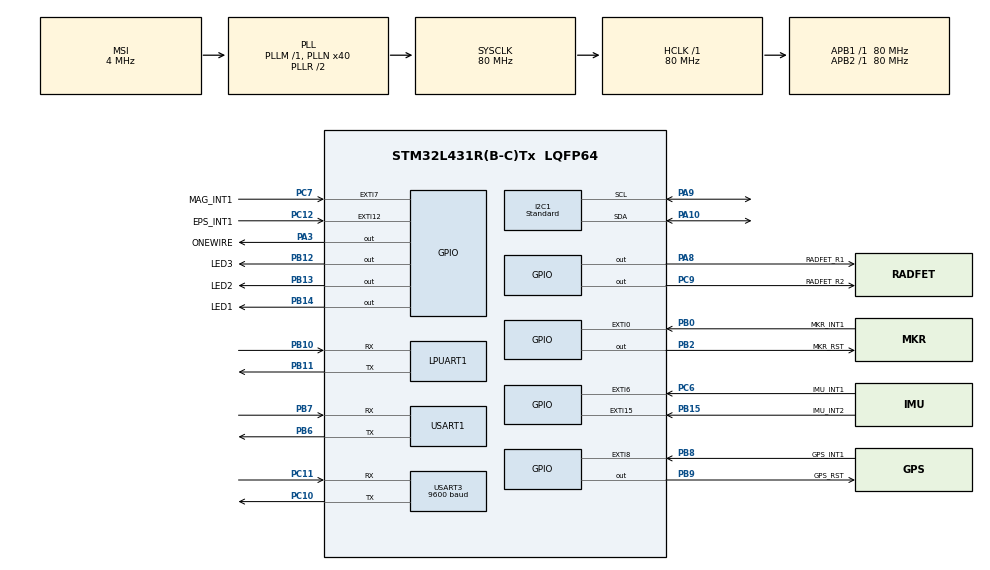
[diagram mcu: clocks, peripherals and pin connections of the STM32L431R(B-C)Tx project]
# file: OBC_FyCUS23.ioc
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CRC.DefaultInitValueUse=DEFAULT_INIT_VALUE_DISABLE
CRC.InputDataFormat=CRC_INPUTDATA_FORMAT_BYTES
Dma.LPUART_TX.0.Direction=DMA_MEMORY_TO_PERIPH
Dma.LPUART_TX.0.Instance=DMA2_Channel6
Dma.LPUART_TX.0.MemDataAlignment=DMA_MDATAALIGN_BYTE
Dma.LPUART_TX.0.MemInc=DMA_MINC_ENABLE
Dma.LPUART_TX.0.Mode=DMA_NORMAL
Dma.LPUART_TX.0.PeriphDataAlignment=DMA_PDATAALIGN_BYTE
Dma.LPUART_TX.0.PeriphInc=DMA_PINC_DISABLE
Dma.LPUART_TX.0.Priority=DMA_PRIORITY_MEDIUM
Dma.Request0=LPUART_TX
Dma.Request1=USART3_RX
Dma.Request2=USART1_TX
Dma.USART1_TX.2.Direction=DMA_MEMORY_TO_PERIPH
Dma.USART1_TX.2.Instance=DMA1_Channel4
Dma.USART1_TX.2.MemDataAlignment=DMA_MDATAALIGN_BYTE
Dma.USART1_TX.2.MemInc=DMA_MINC_ENABLE
Dma.USART1_TX.2.Mode=DMA_NORMAL
Dma.USART1_TX.2.PeriphDataAlignment=DMA_PDATAALIGN_BYTE
Dma.USART1_TX.2.PeriphInc=DMA_PINC_DISABLE
Dma.USART1_TX.2.Priority=DMA_PRIORITY_MEDIUM
Dma.USART3_RX.1.Direction=DMA_PERIPH_TO_MEMORY
Dma.USART3_RX.1.Instance=DMA1_Channel3
Dma.USART3_RX.1.MemDataAlignment=DMA_MDATAALIGN_BYTE
Dma.USART3_RX.1.MemInc=DMA_MINC_ENABLE
Dma.USART3_RX.1.Mode=DMA_NORMAL
Dma.USART3_RX.1.PeriphDataAlignment=DMA_PDATAALIGN_BYTE
Dma.USART3_RX.1.PeriphInc=DMA_PINC_DISABLE
Dma.USART3_RX.1.Priority=DMA_PRIORITY_VERY_HIGH
I2C1.Analog_Filter=I2C_ANALOGFILTER_ENABLE
I2C1.CustomTiming=Disabled
I2C1.I2C_Speed_Mode=I2C_Standard
I2C1.Speed=100
I2C1.Timing=0x10909CEC
IWDG.Prescaler=IWDG_PRESCALER_8
IWDG.Reload=3999
LPUART1.BaudRate=MODEM_UART_BAUDRATE
LPUART1.OneBitSampling=UART_ONE_BIT_SAMPLE_DISABLE
LPUART1.WordLength=UART_WORDLENGTH_8B
Mcu.Family=STM32L4
Mcu.Name=STM32L431R(B-C)Tx
Mcu.Package=LQFP64
Mcu.UserConstants=EPS_UART_HANDLE,&huart1;PRIMARY_TIM_ARR,((7 *10000/5)-1);SECONDARY_TIM_HANDLE,&htim16;MODEM_UART_BAUDRATE,500000;GNSS_UART,USART3;GNSS_UART_HANDLE,&huart3;MICROS_TIM_ARR,65535;PRIMARY_TIM,TIM7;MODEM_UART_HANDLE,&hlpuart1;SECONDARY_TIM,TIM16;EPS_UART,USART1;PRIMARY_TIM_HANDLE,&htim7;MICROS_TIM_HANDLE,&htim6;MICROS_TIM_PRESCALER,(80-1);EPS_UART_BAUDRATE,500000;SECONDARY_TIM_ARR,((3 *10000/5) -1);MODEM_UART,LPUART1;PRIMARY_TIM_PRESCALER,((8000*5)-1);MICROS_TIM,TIM6;SECONDARY_TIM_PRESCALER,(8000*5-1);RTC_HANDLE,&hrtc
NVIC.DMA1_Channel3_IRQn=true\:0\:0\:false\:false\:true\:false\:true\:true
NVIC.DMA1_Channel4_IRQn=true\:0\:0\:false\:false\:true\:false\:true\:true
NVIC.DMA2_Channel6_IRQn=true\:0\:0\:false\:false\:true\:false\:true\:true
NVIC.EXTI0_IRQn=true\:6\:0\:true\:false\:true\:true\:true\:true
NVIC.EXTI15_10_IRQn=true\:6\:0\:true\:false\:true\:true\:true\:true
NVIC.EXTI9_5_IRQn=true\:7\:0\:true\:false\:true\:true\:true\:true
NVIC.LPUART1_IRQn=true\:2\:0\:true\:false\:true\:true\:true\:true
NVIC.PriorityGroup=NVIC_PRIORITYGROUP_4
NVIC.TIM1_UP_TIM16_IRQn=true\:0\:0\:false\:false\:true\:true\:true\:true
NVIC.TIM7_IRQn=true\:3\:0\:true\:false\:true\:true\:true\:true
NVIC.USART1_IRQn=true\:4\:0\:true\:false\:true\:true\:true\:true
NVIC.USART3_IRQn=true\:5\:0\:true\:false\:true\:true\:true\:true
PA10.Mode=I2C
PA10.Signal=I2C1_SDA
PA13\ (JTMS-SWDIO).Mode=JTAG_5_pins
PA13\ (JTMS-SWDIO).Signal=SYS_JTMS-SWDIO
PA14\ (JTCK-SWCLK).Mode=JTAG_5_pins
PA14\ (JTCK-SWCLK).Signal=SYS_JTCK-SWCLK
PA15\ (JTDI).Mode=JTAG_5_pins
PA15\ (JTDI).Signal=SYS_JTDI
PA3.GPIO_Label=ONEWIRE
PA3.GPIO_ModeDefaultOutputPP=GPIO_MODE_OUTPUT_OD
PA3.GPIO_PuPd=GPIO_PULLUP
PA3.GPIO_Speed=GPIO_SPEED_FREQ_VERY_HIGH
PA3.Signal=GPIO_Output
PA8.GPIO_Label=RADFET_R1
PA8.GPIO_ModeDefaultOutputPP=GPIO_MODE_OUTPUT_OD
PA8.GPIO_PuPd=GPIO_NOPULL
PA8.Signal=GPIO_Output
PA9.Mode=I2C
PA9.Signal=I2C1_SCL
PB0.GPIO_Label=MKR_INT1
PB0.GPIO_PuPd=GPIO_PULLDOWN
PB0.Signal=GPXTI0
PB10.Mode=Asynchronous
PB10.Signal=LPUART1_RX
PB11.Mode=Asynchronous
PB11.Signal=LPUART1_TX
PB12.GPIO_Label=LED3
PB12.Signal=GPIO_Output
PB13.GPIO_Label=LED2
PB13.Signal=GPIO_Output
PB14.GPIO_Label=LED1
PB14.Signal=GPIO_Output
PB15.GPIO_Label=IMU_INT2
PB15.GPIO_ModeDefaultEXTI=GPIO_MODE_IT_RISING
PB15.GPIO_PuPd=GPIO_PULLDOWN
PB15.Signal=GPXTI15
PB2.GPIO_Label=MKR_RST
PB2.GPIO_ModeDefaultOutputPP=GPIO_MODE_OUTPUT_OD
PB2.GPIO_PuPd=GPIO_NOPULL
PB2.PinState=GPIO_PIN_SET
PB2.Signal=GPIO_Output
PB3\ (JTDO-TRACESWO).Mode=JTAG_5_pins
PB3\ (JTDO-TRACESWO).Signal=SYS_JTDO-SWO
PB4\ (NJTRST).Mode=JTAG_5_pins
PB4\ (NJTRST).Signal=SYS_JTRST
PB6.Mode=Asynchronous
PB6.Signal=USART1_TX
PB7.Mode=Asynchronous
PB7.Signal=USART1_RX
PB8.GPIO_Label=GPS_INT1
PB8.GPIO_ModeDefaultEXTI=GPIO_MODE_IT_FALLING
PB8.GPIO_PuPd=GPIO_PULLUP
PB8.Signal=GPXTI8
PB9.GPIO_Label=GPS_RST
PB9.GPIO_ModeDefaultOutputPP=GPIO_MODE_OUTPUT_OD
PB9.GPIO_PuPd=GPIO_PULLUP
PB9.PinState=GPIO_PIN_SET
PB9.Signal=GPIO_Output
PC10.Mode=Asynchronous
PC10.Signal=USART3_TX
PC11.Mode=Asynchronous
PC11.Signal=USART3_RX
PC12.GPIO_Label=EPS_INT1
PC12.GPIO_ModeDefaultEXTI=GPIO_MODE_IT_RISING
PC12.GPIO_PuPd=GPIO_PULLDOWN
PC12.Signal=GPXTI12
PC6.GPIO_Label=IMU_INT1
PC6.GPIO_ModeDefaultEXTI=GPIO_MODE_IT_RISING
PC6.GPIO_PuPd=GPIO_PULLDOWN
PC6.Signal=GPXTI6
PC7.GPIO_Label=MAG_INT1
PC7.GPIO_ModeDefaultEXTI=GPIO_MODE_IT_RISING
PC7.GPIO_PuPd=GPIO_PULLDOWN
PC7.Signal=GPXTI7
PC9.GPIO_Label=RADFET_R2
PC9.GPIO_ModeDefaultOutputPP=GPIO_MODE_OUTPUT_OD
PC9.GPIO_PuPd=GPIO_NOPULL
PC9.Signal=GPIO_Output
ProjectManager.HeapSize=0x200
ProjectManager.StackSize=0x400
ProjectManager.TargetToolchain=STM32CubeIDE
RCC.ADCFreq_Value=32000000
RCC.AHBFreq_Value=80000000
RCC.APB1Freq_Value=80000000
RCC.APB1TimFreq_Value=80000000
RCC.APB2Freq_Value=80000000
RCC.APB2TimFreq_Value=80000000
RCC.CortexFreq_Value=80000000
RCC.HCLKFreq_Value=80000000
RCC.HSE_VALUE=8000000
RCC.HSI48_VALUE=48000000
RCC.HSI_VALUE=16000000
RCC.LSE_VALUE=32768
RCC.MSI_VALUE=4000000
RCC.PLLN=40
RCC.PLLSAI1N=16
RCC.SYSCLKFreq_VALUE=80000000
RCC.SYSCLKSource=RCC_SYSCLKSOURCE_PLLCLK
RCC.VCOOutputFreq_Value=160000000
TIM16.Period=SECONDARY_TIM_ARR
TIM16.Prescaler=SECONDARY_TIM_PRESCALER
TIM6.Period=MICROS_TIM_ARR
TIM6.Prescaler=MICROS_TIM_PRESCALER
TIM7.Period=PRIMARY_TIM_ARR
TIM7.Prescaler=PRIMARY_TIM_PRESCALER
USART1.AutoBaudRateEnableParam=UART_ADVFEATURE_AUTOBAUDRATE_DISABLE
USART1.BaudRate=EPS_UART_BAUDRATE
USART1.VirtualMode-Asynchronous=VM_ASYNC
USART3.BaudRate=9600
USART3.VirtualMode-Asynchronous=VM_ASYNC
VP_CRC_VS_CRC.Mode=CRC_Activate
VP_IWDG_VS_IWDG.Mode=IWDG_Activate
VP_RTC_VS_RTC_Activate.Mode=RTC_Enabled
VP_TIM16_VS_ClockSourceINT.Mode=Enable_Timer
VP_TIM6_VS_ClockSourceINT.Mode=Enable_Timer
VP_TIM7_VS_ClockSourceINT.Mode=Enable_Timer
board=custom

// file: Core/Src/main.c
/* USER CODE BEGIN Header */
/**
  ******************************************************************************
  *
  * @author         Rubén Torres Bermúdez <rubentorresbermudez@gmail.com>
  ******************************************************************************
  * @attention
  *
  *  Description:
  *		This source file is used to control OBC+AOCS subsystem in FyCUS 2023
  *		project.
  *
  *  Copyright (C) 2023 Rubén Torres Bermúdez
  ******************************************************************************
  */

/**
  ******************************************************************************
  * @file           : main.c
  * @brief          : Main program body
  ******************************************************************************
  * @attention
  *
  * Copyright (c) 2023 STMicroelectronics.
  * All rights reserved.
  *
  * This software is licensed under terms that can be found in the LICENSE file
  * in the root directory of this software component.
  * If no LICENSE file comes with this software, it is provided AS-IS.
  *
  ******************************************************************************
  */

/* USER CODE END Header */
#include "main.h"

/* USER CODE BEGIN Includes */
#include <stdint.h>
#include <string.h>
#include "intelli.h"
#include "aocs.h"
/* USER CODE END Includes */

/* USER CODE BEGIN PTD */

typedef enum {
	ISR_FLAG_NONE 			= 0,
	ISR_FLAG_GNSS			= 0b1,
	ISR_FLAG_IMU_ACELL		= 0b10,
	ISR_FLAG_IMU_GYRO		= 0b100,
	ISR_FLAG_MAG			= 0b1000,
	ISR_FLAG_MODEM_BUS		= 0b10000,
	ISR_FLAG_MODEM_GPIO		= 0b100000,
	ISR_FLAG_EPS_BUS		= 0b1000000,
	ISR_FLAG_EPS_GPIO		= 0b10000000,
	ISR_FLAG_PRIMARY_TIM	= 0b100000000,
	ISR_FLAG_SECONDARY_TIM	= 0b1000000000,
	ISR_FLAG_PUBX_MSG		= 0b10000000000,
}isr_flag_t;

/* USER CODE END PTD */

/* USER CODE BEGIN PD */
#define DEBUG_LED				1
#define LOW_SENSOR_READ_FAST	1
#define GNSS_READ_PUBX			0
/* USER CODE END PD */

CRC_HandleTypeDef hcrc;

I2C_HandleTypeDef hi2c1;

IWDG_HandleTypeDef hiwdg;

UART_HandleTypeDef hlpuart1;
UART_HandleTypeDef huart1;
UART_HandleTypeDef huart3;
DMA_HandleTypeDef hdma_lpuart_tx;
DMA_HandleTypeDef hdma_usart1_tx;
DMA_HandleTypeDef hdma_usart3_rx;

RTC_HandleTypeDef hrtc;

TIM_HandleTypeDef htim6;
TIM_HandleTypeDef htim7;
TIM_HandleTypeDef htim16;

/* USER CODE BEGIN PV */

/* Estado de los sistemas */
volatile isr_flag_t isr_flag = ISR_FLAG_NONE;

/* Variables del buffer de la EPS */
uint8_t eps_buffer_rx[BUS_PACKET_BUS_SIZE] = {0};
bus_packet_t eps_packet = {0};

/* Variables del bus del modem */
uint8_t modem_buffer_rx[BUS_PACKET_BUS_SIZE] = {0};
bus_packet_t modem_packet = {0};

/* USER CODE END PV */

void SystemClock_Config(void);
static void MX_GPIO_Init(void);
static void MX_DMA_Init(void);
static void MX_I2C1_Init(void);
static void MX_USART1_UART_Init(void);
static void MX_USART3_UART_Init(void);
static void MX_LPUART1_UART_Init(void);
static void MX_TIM6_Init(void);
static void MX_IWDG_Init(void);
static void MX_CRC_Init(void);
static void MX_TIM7_Init(void);
static void MX_TIM16_Init(void);
static void MX_RTC_Init(void);
/* USER CODE BEGIN PFP */
void delayMicro (uint32_t us_delay);
static inline void uart_gnss_handle(UART_HandleTypeDef *huart);
static inline void uart_eps_handle(UART_HandleTypeDef *huart);
static inline void uart_modem_handle(UART_HandleTypeDef *huart);

/* USER CODE END PFP */

/* USER CODE BEGIN 0 */
void delayMicro (uint32_t us_delay)
{
	__HAL_TIM_SET_COUNTER(MICROS_TIM_HANDLE, 0);
	while (__HAL_TIM_GET_COUNTER(MICROS_TIM_HANDLE) < us_delay);
}

/* USER CODE END 0 */

int main(void)
{

  /* MCU Configuration--------------------------------------------------------*/

  /* Reset of all peripherals, Initializes the Flash interface and the Systick. */
  HAL_Init();

  /* Configure the system clock */
  SystemClock_Config();

  /* Initialize all configured peripherals */
  MX_GPIO_Init();
  MX_DMA_Init();
  MX_I2C1_Init();
  MX_USART1_UART_Init();
  MX_USART3_UART_Init();
  MX_LPUART1_UART_Init();
  MX_TIM6_Init();
  MX_IWDG_Init();
  MX_CRC_Init();
  MX_TIM7_Init();
  MX_TIM16_Init();
  MX_RTC_Init();
  /* USER CODE BEGIN 2 */

  /* INICIO DE LA CONFIGURACIÓN */
#if DEBUG_LED
  HAL_GPIO_WritePin(LED1_GPIO_Port, LED1_Pin, GPIO_PIN_SET);
#endif

  /* Seguridad del microcontrolador */
  HAL_StatusTypeDef err = HAL_ERROR;
  HAL_IWDG_Init(&hiwdg);
  HAL_Delay(30);

  /* Configuración de las comunicaciones */
  bus_packet_CRC16CCSDSConfig();
  HAL_UART_Receive_DMA(GNSS_UART_HANDLE, gnss_ring, 1);
  HAL_UART_Receive_IT(EPS_UART_HANDLE, eps_buffer_rx, 1);
  HAL_UART_Receive_IT(MODEM_UART_HANDLE, modem_buffer_rx, 1);

  /* Tareas temporizadas y timers necesarios */
  HAL_TIM_Base_Start_IT(PRIMARY_TIM_HANDLE);
  HAL_TIM_Base_Start_IT(SECONDARY_TIM_HANDLE);
  HAL_TIM_Base_Start(MICROS_TIM_HANDLE);

  /* ********* AOCS ********* */

  /* Configuracion de magnetómetro */
  err = aocs_config_magnetometer();
  if (err != HAL_OK) sc_status.obc |= OBC_ERROR_MAG;
  else sc_status.obc &= ~OBC_ERROR_MAG;

  /* Configuración de la IMU */
  err = aocs_config_imu();
  if (err != HAL_OK) sc_status.obc |= OBC_ERROR_IMU;
  else sc_status.obc &= ~OBC_ERROR_IMU;

  /* Configuración del altímetro */
  err = aocs_config_altimeter();
  if (err != HAL_OK) sc_status.obc |= OBC_ERROR_ALTIM;
  else sc_status.obc &= ~OBC_ERROR_ALTIM;

  /* Configuracion de sondas de temperatura */
  err = aocs_config_temp();
  if (err != HAL_OK) sc_status.obc |= OBC_ERROR_TEMPS;
  else sc_status.obc &= ~OBC_ERROR_TEMPS;

  /* Configuración del GNSS */
  err = aocs_config_gnss();
  if (err != HAL_OK) sc_status.obc |= OBC_ERROR_GNSS;
  else sc_status.obc &= ~OBC_ERROR_GNSS;

//  /* Configuracion del RTC */
//  err = set_time(0, 0, 0);
//  if (err != HAL_OK) sc_status.obc |= OBC_ERROR_RTC;
//  else sc_status.obc &= ~OBC_ERROR_RTC;

  HAL_IWDG_Refresh(&hiwdg);
#if DEBUG_LED
  HAL_GPIO_WritePin(LED1_GPIO_Port, LED1_Pin, GPIO_PIN_RESET);
#endif
  /* FIN DE LA CONFIGURACIÓN */

  /* USER CODE END 2 */

  /* Infinite loop */
  /* USER CODE BEGIN WHILE */
  while (1)
  {
	  while(isr_flag != ISR_FLAG_NONE)
	  {
		  HAL_ResumeTick();
		  HAL_IWDG_Refresh(&hiwdg);

#if(!LOW_SENSOR_READ_FAST)
		  if(isr_flag&ISR_FLAG_IMU_ACELL)
		  {
			  if(get_acell() != HAL_OK) sc_status.obc |= OBC_ERROR_IMU;
			  else sc_status.obc &= ~OBC_ERROR_IMU;
			  isr_flag ^= ISR_FLAG_IMU_ACELL;
		  }

		  if(isr_flag&ISR_FLAG_IMU_GYRO)
		  {
			  if(get_gyro() != HAL_OK) sc_status.obc |= OBC_ERROR_IMU;
			  else sc_status.obc &= ~OBC_ERROR_IMU;
			  isr_flag ^= ISR_FLAG_IMU_GYRO;
		  }

		  if(isr_flag&ISR_FLAG_MAG)
		  {
			  if(get_mag() != HAL_OK) sc_status.obc |= OBC_ERROR_MAG;
			  else sc_status.obc &= ~OBC_ERROR_MAG;
			  isr_flag ^= ISR_FLAG_MAG;
		  }
#endif

		  if(isr_flag&ISR_FLAG_PRIMARY_TIM)
		  {
			  send_programmed_TM();
			  __HAL_TIM_SET_COUNTER(PRIMARY_TIM_HANDLE, 0);
			  HAL_TIM_Base_Start_IT(PRIMARY_TIM_HANDLE);
			  isr_flag ^= ISR_FLAG_PRIMARY_TIM;

#if DEBUG_LED
			  HAL_GPIO_WritePin(LED3_GPIO_Port, LED3_Pin, GPIO_PIN_SET);
			  HAL_Delay(2);
			  HAL_GPIO_WritePin(LED3_GPIO_Port, LED3_Pin, GPIO_PIN_RESET);
#endif
		  }

		  if(isr_flag&ISR_FLAG_GNSS)
		  {
			  if(aocs_get_gnss() != HAL_OK) sc_status.obc |= OBC_ERROR_GNSS;
			  else sc_status.obc &= ~OBC_ERROR_GNSS;
			  isr_flag ^= ISR_FLAG_GNSS;
		  }

		  else if(isr_flag&ISR_FLAG_MODEM_BUS)
		  {
			  if(bus_packet_Decode(modem_buffer_rx, &modem_packet) != HAL_OK)	sc_status.obc |= OBC_ERROR_RX_MODEM;
			  else sc_status.obc &= ~OBC_ERROR_RX_MODEM;

			  if(modem_packet.packet_type == BUS_PACKET_TYPE_TM)	  		intelliOBC_TM(modem_packet.apid, modem_packet.data);
			  else /*if(modem_packet.packet_type == BUS_PACKET_TYPE_TC)*/	intelliOBC_TC(modem_packet.apid, modem_packet.data);

			  isr_flag ^= ISR_FLAG_MODEM_BUS;

#if DEBUG_LED
			  HAL_GPIO_WritePin(LED3_GPIO_Port, LED3_Pin, GPIO_PIN_SET);
			  HAL_Delay(2);
			  HAL_GPIO_WritePin(LED3_GPIO_Port, LED3_Pin, GPIO_PIN_RESET);
#endif
		  }

		  else if(isr_flag&ISR_FLAG_EPS_BUS)
		  {
			  if(bus_packet_Decode(eps_buffer_rx, &eps_packet) != HAL_OK)
			  {
				  sc_status.obc |= OBC_ERROR_RX_EPS;
				  send_nack(EPS_UART_HANDLE);
			  }
			  else
			  {
				  sc_status.obc &= ~OBC_ERROR_RX_EPS;
				  send_ack(EPS_UART_HANDLE);
			  }

			  if(eps_packet.packet_type == BUS_PACKET_TYPE_TM)	  		intelliOBC_TM(eps_packet.apid, eps_packet.data);
			  else /*if(eps_packet.packet_type == BUS_PACKET_TYPE_TC)*/	intelliOBC_TC(eps_packet.apid, eps_packet.data);

			  isr_flag ^= ISR_FLAG_EPS_BUS;
		  }

		  else if(isr_flag&ISR_FLAG_SECONDARY_TIM)
		  {
			  check_status();
#if(LOW_SENSOR_READ_FAST)
			  if(aocs_get_imu() != HAL_OK) sc_status.obc |= OBC_ERROR_IMU;
			  else sc_status.obc &= ~OBC_ERROR_IMU;

			  if(aocs_get_mag() != HAL_OK) sc_status.obc |= OBC_ERROR_MAG;
			  else sc_status.obc &= ~OBC_ERROR_MAG;
#endif
			  if(aocs_get_altimeter() != HAL_OK) sc_status.obc |= OBC_ERROR_ALTIM;
			  else sc_status.obc &= ~OBC_ERROR_ALTIM;

			  if(aocs_get_temp() != HAL_OK) sc_status.obc |= OBC_ERROR_TEMPS;
			  else sc_status.obc &= ~OBC_ERROR_TEMPS;

			  if(!(isr_flag&ISR_FLAG_EPS_GPIO))		sc_status.eps |= 0x80;
			  else
			  {
				  sc_status.eps &= ~(0x80);
				  isr_flag ^= ISR_FLAG_EPS_GPIO;
			  }

			  if(!(isr_flag&ISR_FLAG_MODEM_GPIO))	sc_status.modem |= 0x80;
			  else
			  {
				  sc_status.modem &= ~(0x80);
				  isr_flag ^= ISR_FLAG_MODEM_GPIO;
			  }

			  send_data_saving();

			  __HAL_TIM_SET_COUNTER(SECONDARY_TIM_HANDLE, 0);
			  HAL_TIM_Base_Start_IT(SECONDARY_TIM_HANDLE);
			  isr_flag ^= ISR_FLAG_SECONDARY_TIM;
		  }

#if(GNSS_READ_PUBX)
		  else if(isr_flag&ISR_FLAG_PUBX_MSG)
		  {
			  if(get_pubx() != HAL_OK) sc_status.obc |= OBC_ERROR_PUBX;
			  else sc_status.obc &= ~OBC_ERROR_PUBX;

			  isr_flag ^= ISR_FLAG_PUBX_MSG;
		  }
#endif

//		  else if(isr_flag&ISR_FLAG_MODEM_GPIO)
//		  {
//#warning "Poner funcionamiento GPIO"
//			  isr_flag ^= ISR_FLAG_MODEM_GPIO;
//		  }
//
//		  else if(isr_flag&ISR_FLAG_EPS_GPIO)
//		  {
//#warning "Poner funcionamiento GPIO"
//			  isr_flag ^= ISR_FLAG_EPS_GPIO;
//		  }

		  HAL_IWDG_Refresh(&hiwdg);
	  }

#if DEBUG_LED
	HAL_GPIO_WritePin(LED2_GPIO_Port, LED2_Pin, GPIO_PIN_RESET);
#endif
	HAL_IWDG_Refresh(&hiwdg);
	HAL_SuspendTick();
	HAL_PWR_EnableSleepOnExit();
	HAL_PWR_EnterSLEEPMode(PWR_MAINREGULATOR_ON, PWR_SLEEPENTRY_WFI);
#if DEBUG_LED
	  HAL_ResumeTick();
	HAL_GPIO_WritePin(LED2_GPIO_Port, LED2_Pin, GPIO_PIN_SET);
#endif

    /* USER CODE END WHILE */

  }
}

void SystemClock_Config(void)
{
  RCC_OscInitTypeDef RCC_OscInitStruct = {0};
  RCC_ClkInitTypeDef RCC_ClkInitStruct = {0};

  /** Configure the main internal regulator output voltage
  */
  if (HAL_PWREx_ControlVoltageScaling(PWR_REGULATOR_VOLTAGE_SCALE1) != HAL_OK)
  {
    Error_Handler();
  }

  /** Initializes the RCC Oscillators according to the specified parameters
  * in the RCC_OscInitTypeDef structure.
  */
  RCC_OscInitStruct.OscillatorType = RCC_OSCILLATORTYPE_LSI|RCC_OSCILLATORTYPE_MSI;
  RCC_OscInitStruct.LSIState = RCC_LSI_ON;
  RCC_OscInitStruct.MSIState = RCC_MSI_ON;
  RCC_OscInitStruct.MSICalibrationValue = 0;
  RCC_OscInitStruct.MSIClockRange = RCC_MSIRANGE_6;
  RCC_OscInitStruct.PLL.PLLState = RCC_PLL_ON;
  RCC_OscInitStruct.PLL.PLLSource = RCC_PLLSOURCE_MSI;
  RCC_OscInitStruct.PLL.PLLM = 1;
  RCC_OscInitStruct.PLL.PLLN = 40;
  RCC_OscInitStruct.PLL.PLLP = RCC_PLLP_DIV7;
  RCC_OscInitStruct.PLL.PLLQ = RCC_PLLQ_DIV2;
  RCC_OscInitStruct.PLL.PLLR = RCC_PLLR_DIV2;
  if (HAL_RCC_OscConfig(&RCC_OscInitStruct) != HAL_OK)
  {
    Error_Handler();
  }

  /** Initializes the CPU, AHB and APB buses clocks
  */
  RCC_ClkInitStruct.ClockType = RCC_CLOCKTYPE_HCLK|RCC_CLOCKTYPE_SYSCLK
                              |RCC_CLOCKTYPE_PCLK1|RCC_CLOCKTYPE_PCLK2;
  RCC_ClkInitStruct.SYSCLKSource = RCC_SYSCLKSOURCE_PLLCLK;
  RCC_ClkInitStruct.AHBCLKDivider = RCC_SYSCLK_DIV1;
  RCC_ClkInitStruct.APB1CLKDivider = RCC_HCLK_DIV1;
  RCC_ClkInitStruct.APB2CLKDivider = RCC_HCLK_DIV1;

  if (HAL_RCC_ClockConfig(&RCC_ClkInitStruct, FLASH_LATENCY_4) != HAL_OK)
  {
    Error_Handler();
  }
}

static void MX_CRC_Init(void)
{

  hcrc.Instance = CRC;
  hcrc.Init.DefaultPolynomialUse = DEFAULT_POLYNOMIAL_ENABLE;
  hcrc.Init.DefaultInitValueUse = DEFAULT_INIT_VALUE_DISABLE;
  hcrc.Init.InitValue = 0;
  hcrc.Init.InputDataInversionMode = CRC_INPUTDATA_INVERSION_NONE;
  hcrc.Init.OutputDataInversionMode = CRC_OUTPUTDATA_INVERSION_DISABLE;
  hcrc.InputDataFormat = CRC_INPUTDATA_FORMAT_BYTES;
  if (HAL_CRC_Init(&hcrc) != HAL_OK)
  {
    Error_Handler();
  }

}

static void MX_I2C1_Init(void)
{

  hi2c1.Instance = I2C1;
  hi2c1.Init.Timing = 0x10909CEC;
  hi2c1.Init.OwnAddress1 = 0;
  hi2c1.Init.AddressingMode = I2C_ADDRESSINGMODE_7BIT;
  hi2c1.Init.DualAddressMode = I2C_DUALADDRESS_DISABLE;
  hi2c1.Init.OwnAddress2 = 0;
  hi2c1.Init.OwnAddress2Masks = I2C_OA2_NOMASK;
  hi2c1.Init.GeneralCallMode = I2C_GENERALCALL_DISABLE;
  hi2c1.Init.NoStretchMode = I2C_NOSTRETCH_DISABLE;
  if (HAL_I2C_Init(&hi2c1) != HAL_OK)
  {
    Error_Handler();
  }

  /** Configure Analogue filter
  */
  if (HAL_I2CEx_ConfigAnalogFilter(&hi2c1, I2C_ANALOGFILTER_ENABLE) != HAL_OK)
  {
    Error_Handler();
  }

  /** Configure Digital filter
  */
  if (HAL_I2CEx_ConfigDigitalFilter(&hi2c1, 0) != HAL_OK)
  {
    Error_Handler();
  }

}

static void MX_IWDG_Init(void)
{

  hiwdg.Instance = IWDG;
  hiwdg.Init.Prescaler = IWDG_PRESCALER_8;
  hiwdg.Init.Window = 4095;
  hiwdg.Init.Reload = 3999;
  if (HAL_IWDG_Init(&hiwdg) != HAL_OK)
  {
    Error_Handler();
  }

}

static void MX_LPUART1_UART_Init(void)
{

  hlpuart1.Instance = LPUART1;
  hlpuart1.Init.BaudRate = MODEM_UART_BAUDRATE;
  hlpuart1.Init.WordLength = UART_WORDLENGTH_8B;
  hlpuart1.Init.StopBits = UART_STOPBITS_1;
  hlpuart1.Init.Parity = UART_PARITY_NONE;
  hlpuart1.Init.Mode = UART_MODE_TX_RX;
  hlpuart1.Init.HwFlowCtl = UART_HWCONTROL_NONE;
  hlpuart1.Init.OneBitSampling = UART_ONE_BIT_SAMPLE_DISABLE;
  hlpuart1.AdvancedInit.AdvFeatureInit = UART_ADVFEATURE_NO_INIT;
  if (HAL_UART_Init(&hlpuart1) != HAL_OK)
  {
    Error_Handler();
  }

}

static void MX_USART1_UART_Init(void)
{

  huart1.Instance = USART1;
  huart1.Init.BaudRate = EPS_UART_BAUDRATE;
  huart1.Init.WordLength = UART_WORDLENGTH_8B;
  huart1.Init.StopBits = UART_STOPBITS_1;
  huart1.Init.Parity = UART_PARITY_NONE;
  huart1.Init.Mode = UART_MODE_TX_RX;
  huart1.Init.HwFlowCtl = UART_HWCONTROL_NONE;
  huart1.Init.OverSampling = UART_OVERSAMPLING_16;
  huart1.Init.OneBitSampling = UART_ONE_BIT_SAMPLE_DISABLE;
  huart1.AdvancedInit.AdvFeatureInit = UART_ADVFEATURE_NO_INIT;
  if (HAL_UART_Init(&huart1) != HAL_OK)
  {
    Error_Handler();
  }

}

static void MX_USART3_UART_Init(void)
{

  huart3.Instance = USART3;
  huart3.Init.BaudRate = 9600;
  huart3.Init.WordLength = UART_WORDLENGTH_8B;
  huart3.Init.StopBits = UART_STOPBITS_1;
  huart3.Init.Parity = UART_PARITY_NONE;
  huart3.Init.Mode = UART_MODE_TX_RX;
  huart3.Init.HwFlowCtl = UART_HWCONTROL_NONE;
  huart3.Init.OverSampling = UART_OVERSAMPLING_16;
  huart3.Init.OneBitSampling = UART_ONE_BIT_SAMPLE_DISABLE;
  huart3.AdvancedInit.AdvFeatureInit = UART_ADVFEATURE_NO_INIT;
  if (HAL_UART_Init(&huart3) != HAL_OK)
  {
    Error_Handler();
  }

}

static void MX_RTC_Init(void)
{

  /** Initialize RTC Only
  */
  hrtc.Instance = RTC;
  hrtc.Init.HourFormat = RTC_HOURFORMAT_24;
  hrtc.Init.AsynchPrediv = 127;
  hrtc.Init.SynchPrediv = 255;
  hrtc.Init.OutPut = RTC_OUTPUT_DISABLE;
  hrtc.Init.OutPutRemap = RTC_OUTPUT_REMAP_NONE;
  hrtc.Init.OutPutPolarity = RTC_OUTPUT_POLARITY_HIGH;
  hrtc.Init.OutPutType = RTC_OUTPUT_TYPE_OPENDRAIN;
  if (HAL_RTC_Init(&hrtc) != HAL_OK)
  {
    Error_Handler();
  }

}

static void MX_TIM6_Init(void)
{

  TIM_MasterConfigTypeDef sMasterConfig = {0};

  htim6.Instance = TIM6;
  htim6.Init.Prescaler = MICROS_TIM_PRESCALER;
  htim6.Init.CounterMode = TIM_COUNTERMODE_UP;
  htim6.Init.Period = MICROS_TIM_ARR;
  htim6.Init.AutoReloadPreload = TIM_AUTORELOAD_PRELOAD_DISABLE;
  if (HAL_TIM_Base_Init(&htim6) != HAL_OK)
  {
    Error_Handler();
  }
  sMasterConfig.MasterOutputTrigger = TIM_TRGO_RESET;
  sMasterConfig.MasterSlaveMode = TIM_MASTERSLAVEMODE_DISABLE;
  if (HAL_TIMEx_MasterConfigSynchronization(&htim6, &sMasterConfig) != HAL_OK)
  {
    Error_Handler();
  }

}

static void MX_TIM7_Init(void)
{

  TIM_MasterConfigTypeDef sMasterConfig = {0};

  htim7.Instance = TIM7;
  htim7.Init.Prescaler = PRIMARY_TIM_PRESCALER;
  htim7.Init.CounterMode = TIM_COUNTERMODE_UP;
  htim7.Init.Period = PRIMARY_TIM_ARR;
  htim7.Init.AutoReloadPreload = TIM_AUTORELOAD_PRELOAD_DISABLE;
  if (HAL_TIM_Base_Init(&htim7) != HAL_OK)
  {
    Error_Handler();
  }
  sMasterConfig.MasterOutputTrigger = TIM_TRGO_RESET;
  sMasterConfig.MasterSlaveMode = TIM_MASTERSLAVEMODE_DISABLE;
  if (HAL_TIMEx_MasterConfigSynchronization(&htim7, &sMasterConfig) != HAL_OK)
  {
    Error_Handler();
  }

}

static void MX_TIM16_Init(void)
{

  htim16.Instance = TIM16;
  htim16.Init.Prescaler = SECONDARY_TIM_PRESCALER;
  htim16.Init.CounterMode = TIM_COUNTERMODE_UP;
  htim16.Init.Period = SECONDARY_TIM_ARR;
  htim16.Init.ClockDivision = TIM_CLOCKDIVISION_DIV1;
  htim16.Init.RepetitionCounter = 0;
  htim16.Init.AutoReloadPreload = TIM_AUTORELOAD_PRELOAD_DISABLE;
  if (HAL_TIM_Base_Init(&htim16) != HAL_OK)
  {
    Error_Handler();
  }

}

static void MX_DMA_Init(void)
{

  /* DMA controller clock enable */
  __HAL_RCC_DMA2_CLK_ENABLE();
  __HAL_RCC_DMA1_CLK_ENABLE();

  /* DMA interrupt init */
  /* DMA1_Channel3_IRQn interrupt configuration */
  HAL_NVIC_SetPriority(DMA1_Channel3_IRQn, 0, 0);
  HAL_NVIC_EnableIRQ(DMA1_Channel3_IRQn);
  /* DMA1_Channel4_IRQn interrupt configuration */
  HAL_NVIC_SetPriority(DMA1_Channel4_IRQn, 0, 0);
  HAL_NVIC_EnableIRQ(DMA1_Channel4_IRQn);
  /* DMA2_Channel6_IRQn interrupt configuration */
  HAL_NVIC_SetPriority(DMA2_Channel6_IRQn, 0, 0);
  HAL_NVIC_EnableIRQ(DMA2_Channel6_IRQn);

}

static void MX_GPIO_Init(void)
{
  GPIO_InitTypeDef GPIO_InitStruct = {0};

  /* GPIO Ports Clock Enable */
  __HAL_RCC_GPIOA_CLK_ENABLE();
  __HAL_RCC_GPIOB_CLK_ENABLE();
  __HAL_RCC_GPIOC_CLK_ENABLE();

  /*Configure GPIO pin Output Level */
  HAL_GPIO_WritePin(GPIOA, ONEWIRE_Pin|RADFET_R1_Pin, GPIO_PIN_RESET);

  /*Configure GPIO pin Output Level */
  HAL_GPIO_WritePin(GPIOB, MKR_RST_Pin|GPS_RST_Pin, GPIO_PIN_SET);

  /*Configure GPIO pin Output Level */
  HAL_GPIO_WritePin(GPIOB, LED3_Pin|LED2_Pin|LED1_Pin, GPIO_PIN_RESET);

  /*Configure GPIO pin Output Level */
  HAL_GPIO_WritePin(RADFET_R2_GPIO_Port, RADFET_R2_Pin, GPIO_PIN_RESET);

  /*Configure GPIO pin : ONEWIRE_Pin */
  GPIO_InitStruct.Pin = ONEWIRE_Pin;
  GPIO_InitStruct.Mode = GPIO_MODE_OUTPUT_OD;
  GPIO_InitStruct.Pull = GPIO_PULLUP;
  GPIO_InitStruct.Speed = GPIO_SPEED_FREQ_VERY_HIGH;
  HAL_GPIO_Init(ONEWIRE_GPIO_Port, &GPIO_InitStruct);

  /*Configure GPIO pins : MKR_INT1_Pin IMU_INT2_Pin */
  GPIO_InitStruct.Pin = MKR_INT1_Pin|IMU_INT2_Pin;
  GPIO_InitStruct.Mode = GPIO_MODE_IT_RISING;
  GPIO_InitStruct.Pull = GPIO_PULLDOWN;
  HAL_GPIO_Init(GPIOB, &GPIO_InitStruct);

  /*Configure GPIO pin : MKR_RST_Pin */
  GPIO_InitStruct.Pin = MKR_RST_Pin;
  GPIO_InitStruct.Mode = GPIO_MODE_OUTPUT_OD;
  GPIO_InitStruct.Pull = GPIO_NOPULL;
  GPIO_InitStruct.Speed = GPIO_SPEED_FREQ_LOW;
  HAL_GPIO_Init(MKR_RST_GPIO_Port, &GPIO_InitStruct);

  /*Configure GPIO pins : LED3_Pin LED2_Pin LED1_Pin */
  GPIO_InitStruct.Pin = LED3_Pin|LED2_Pin|LED1_Pin;
  GPIO_InitStruct.Mode = GPIO_MODE_OUTPUT_PP;
  GPIO_InitStruct.Pull = GPIO_NOPULL;
  GPIO_InitStruct.Speed = GPIO_SPEED_FREQ_LOW;
  HAL_GPIO_Init(GPIOB, &GPIO_InitStruct);

  /*Configure GPIO pins : IMU_INT1_Pin MAG_INT1_Pin EPS_INT1_Pin */
  GPIO_InitStruct.Pin = IMU_INT1_Pin|MAG_INT1_Pin|EPS_INT1_Pin;
  GPIO_InitStruct.Mode = GPIO_MODE_IT_RISING;
  GPIO_InitStruct.Pull = GPIO_PULLDOWN;
  HAL_GPIO_Init(GPIOC, &GPIO_InitStruct);

  /*Configure GPIO pin : RADFET_R2_Pin */
  GPIO_InitStruct.Pin = RADFET_R2_Pin;
  GPIO_InitStruct.Mode = GPIO_MODE_OUTPUT_OD;
  GPIO_InitStruct.Pull = GPIO_NOPULL;
  GPIO_InitStruct.Speed = GPIO_SPEED_FREQ_LOW;
  HAL_GPIO_Init(RADFET_R2_GPIO_Port, &GPIO_InitStruct);

  /*Configure GPIO pin : RADFET_R1_Pin */
  GPIO_InitStruct.Pin = RADFET_R1_Pin;
  GPIO_InitStruct.Mode = GPIO_MODE_OUTPUT_OD;
  GPIO_InitStruct.Pull = GPIO_NOPULL;
  GPIO_InitStruct.Speed = GPIO_SPEED_FREQ_LOW;
  HAL_GPIO_Init(RADFET_R1_GPIO_Port, &GPIO_InitStruct);

  /*Configure GPIO pin : GPS_INT1_Pin */
  GPIO_InitStruct.Pin = GPS_INT1_Pin;
  GPIO_InitStruct.Mode = GPIO_MODE_IT_FALLING;
  GPIO_InitStruct.Pull = GPIO_PULLUP;
  HAL_GPIO_Init(GPS_INT1_GPIO_Port, &GPIO_InitStruct);

  /*Configure GPIO pin : GPS_RST_Pin */
  GPIO_InitStruct.Pin = GPS_RST_Pin;
  GPIO_InitStruct.Mode = GPIO_MODE_OUTPUT_OD;
  GPIO_InitStruct.Pull = GPIO_PULLUP;
  GPIO_InitStruct.Speed = GPIO_SPEED_FREQ_LOW;
  HAL_GPIO_Init(GPS_RST_GPIO_Port, &GPIO_InitStruct);

  /* EXTI interrupt init*/
  HAL_NVIC_SetPriority(EXTI0_IRQn, 6, 0);
  HAL_NVIC_EnableIRQ(EXTI0_IRQn);

  HAL_NVIC_SetPriority(EXTI9_5_IRQn, 7, 0);
  HAL_NVIC_EnableIRQ(EXTI9_5_IRQn);

  HAL_NVIC_SetPriority(EXTI15_10_IRQn, 6, 0);
  HAL_NVIC_EnableIRQ(EXTI15_10_IRQn);

}

/* USER CODE BEGIN 4 */
void HAL_TIM_PeriodElapsedCallback(TIM_HandleTypeDef *htim)
{
	if 		(htim->Instance == PRIMARY_TIM)		isr_flag |= ISR_FLAG_PRIMARY_TIM;
	else if (htim->Instance == SECONDARY_TIM)	isr_flag |= ISR_FLAG_SECONDARY_TIM;
	else 										return;

	HAL_PWR_DisableSleepOnExit();
}

void HAL_TIM_PeriodElapsedHalfCpltCallback(TIM_HandleTypeDef *htim)
{
	HAL_IWDG_Refresh(&hiwdg);
}

void HAL_GPIO_EXTI_Callback(uint16_t GPIO_Pin)
{
	switch(GPIO_Pin)
	{
#if(!LOW_SENSOR_READ_FAST)
	case MAG_INT1_Pin:	isr_flag |= ISR_FLAG_MAG; 			break;
	case IMU_INT1_Pin:	isr_flag |= ISR_FLAG_IMU_ACELL;		break;
	case IMU_INT2_Pin:	isr_flag |= ISR_FLAG_IMU_GYRO;		break;
#endif
	case EPS_INT1_Pin:	isr_flag |= ISR_FLAG_EPS_GPIO; 		break;
	case MKR_INT1_Pin:	isr_flag |= ISR_FLAG_MODEM_GPIO;	break;
	case GPS_INT1_Pin:	isr_flag |= ISR_FLAG_GNSS; 			break;

	default: 												return;
	}
	HAL_PWR_DisableSleepOnExit();

}

void HAL_UART_RxCpltCallback(UART_HandleTypeDef *huart)
{
	HAL_ResumeTick();

	if(huart->Instance == GNSS_UART)		// GPS
		uart_gnss_handle(huart);

	else if(huart->Instance == EPS_UART)	// EPS
		uart_eps_handle(huart);

	else if(huart->Instance == MODEM_UART)	// MODEM
		uart_modem_handle(huart);
}

static inline void uart_gnss_handle(UART_HandleTypeDef *huart)
{
	static uint32_t gnss_ring_pos = 0;

	static uint8_t gnss_flag_nmea_ini = 0;
	static uint32_t gnss_current_ini = 0;

	if (gnss_ring[gnss_ring_pos] == '$')	// Ha encontrado un inicio de cadena?
	{
		gnss_flag_nmea_ini = 1;
		gnss_current_ini = gnss_ring_pos;
#if(GNSS_READ_PUBX)
		gnss_flag_pubx_ini = 0;
#endif
	}

	else if ((gnss_ring[gnss_ring_pos] == '\n') && gnss_flag_nmea_ini) // Ha encontrado un fin de cadena?
	{
		gnss_flag_nmea_ini = 0;
		gnss_ring_last_ini = gnss_current_ini;
		gnss_ring_last_end = gnss_ring_pos;
		isr_flag |= ISR_FLAG_GNSS;					// Interpreta la cadena
		HAL_PWR_DisableSleepOnExit();
	}

#if(GNSS_READ_PUBX)
	static uint8_t gnss_flag_pubx_ini = 0;
	static uint16_t gnss_flag_pubx_count = 0;
	static uint8_t gnss_flag_pubx_length = 0;

	else if(gnss_ring[gnss_ring_pos] == 0xB5)
	{
		gnss_flag_pubx_count=0;
		pubx_ring[gnss_flag_pubx_count] = gnss_ring[gnss_ring_pos];
		gnss_flag_pubx_ini = 1;
		gnss_flag_nmea_ini = 0;
		gnss_flag_pubx_count++;
	}

	else if(gnss_flag_pubx_ini)
	{
		if(gnss_flag_pubx_ini==1)
		{
			pubx_ring[gnss_flag_pubx_count] = gnss_ring[gnss_ring_pos];
			gnss_flag_pubx_count++;
			if(gnss_flag_pubx_count == 6)
			{
				gnss_flag_pubx_ini=2;
				gnss_flag_pubx_length = (pubx_ring[gnss_flag_pubx_count-1] << 8 | pubx_ring[gnss_flag_pubx_count-2]) + gnss_flag_pubx_count-1+2;
			}
		}

		if(gnss_flag_pubx_ini==2)
		{
			pubx_ring[gnss_flag_pubx_count] = gnss_ring[gnss_ring_pos];
			gnss_flag_pubx_count++;
			if(gnss_flag_pubx_length<gnss_flag_pubx_count)
			{
				gnss_flag_pubx_ini=0;
				isr_flag |= ISR_FLAG_PUBX_MSG;
			}
		}
	}
#endif

	gnss_ring_pos++;
	if(gnss_ring_pos >= GNSS_RING_BUFFER_SIZE) 	gnss_ring_pos = 0;	// Si ha llegado al final, dale la vuelta

	HAL_UART_Receive_DMA(huart, &gnss_ring[gnss_ring_pos], 1);
}

static inline void uart_eps_handle(UART_HandleTypeDef *huart)
{
	static uint8_t eps_packet_length = 0;
	static bus_sync_flag_t eps_sync_flag = BUS_PACKET_SYNC_FIND;
	static uint8_t eps_buffer_pos = 0;

	if (eps_sync_flag != BUS_PACKET_SYNC_COMPLETED)
	{
		eps_sync_flag = bus_packet_SyncFrameDetect(eps_sync_flag, eps_buffer_rx[eps_buffer_pos]);

		if(eps_sync_flag == BUS_PACKET_SYNC_COMPLETED)
		{
			eps_buffer_pos=0;
			HAL_UART_Receive_IT(huart, &eps_buffer_rx[eps_buffer_pos], 1);
		}
		else
		{
			eps_buffer_pos++;
			if(eps_buffer_pos >= BUS_PACKET_BUS_SIZE)
				eps_buffer_pos=0;

			HAL_UART_Receive_IT(huart, &eps_buffer_rx[eps_buffer_pos], 1);
		}
	}

	else
	{
		if(eps_buffer_pos > 0)	// Se sabe ya la longitud real?
		{
			eps_packet_length = bus_packet_GetLength(eps_buffer_rx);	// Cual era?

			if (eps_buffer_pos >= (eps_packet_length-1))		// Ha terminado la transmisión?
			{
				eps_buffer_pos = 0;
				isr_flag |= ISR_FLAG_EPS_BUS;
				eps_sync_flag = BUS_PACKET_SYNC_FIND;
				HAL_PWR_DisableSleepOnExit();
			}
			else eps_buffer_pos++;
		}
		else	eps_buffer_pos++;

		if(eps_buffer_pos < BUS_PACKET_BUS_SIZE)
			HAL_UART_Receive_IT(huart, &eps_buffer_rx[eps_buffer_pos], 1);
		else Error_Handler();
	}
}

static inline void uart_modem_handle(UART_HandleTypeDef *huart)
{
	static uint8_t modem_packet_length = 0;
	static bus_sync_flag_t modem_sync_flag = BUS_PACKET_SYNC_FIND;
	static uint8_t modem_buffer_pos = 0;

	if (modem_sync_flag != BUS_PACKET_SYNC_COMPLETED)
	{
		modem_sync_flag = bus_packet_SyncFrameDetect(modem_sync_flag, modem_buffer_rx[modem_buffer_pos]);

		if(modem_sync_flag == BUS_PACKET_SYNC_COMPLETED)
			modem_buffer_pos=0;

		else
		{
			modem_buffer_pos++;
			if(modem_buffer_pos >= BUS_PACKET_BUS_SIZE)
				modem_buffer_pos=0;
		}
	}

	else
	{
		if(modem_buffer_pos > 0)	// Se sabe ya la longitud real?
		{
			modem_packet_length = bus_packet_GetLength(modem_buffer_rx);	// Cual era?

			if (modem_buffer_pos >= (modem_packet_length-1))		// Ha terminado la transmisión?
			{
				modem_buffer_pos = 0;
				isr_flag |= ISR_FLAG_MODEM_BUS;
				modem_sync_flag = BUS_PACKET_SYNC_FIND;
				HAL_PWR_DisableSleepOnExit();
			}
			else modem_buffer_pos++;
		}
		else	modem_buffer_pos++;

		if(modem_buffer_pos >= BUS_PACKET_BUS_SIZE)
		{
			modem_buffer_pos = 0;
			modem_sync_flag = BUS_PACKET_SYNC_FIND;
		}
	}
	HAL_UART_Receive_IT(huart, &modem_buffer_rx[modem_buffer_pos], 1);
}

/* USER CODE END 4 */

void Error_Handler(void)
{
  /* USER CODE BEGIN Error_Handler_Debug */
  /* User can add his own implementation to report the HAL error return state */
  __disable_irq();
  while (1)
  {
	  HAL_GPIO_TogglePin(LED1_GPIO_Port, LED1_Pin);
	  for(uint32_t i=0; i<3000000; i++)
	  {
		  asm("NOP");
	  }
  }
  /* USER CODE END Error_Handler_Debug */
}
